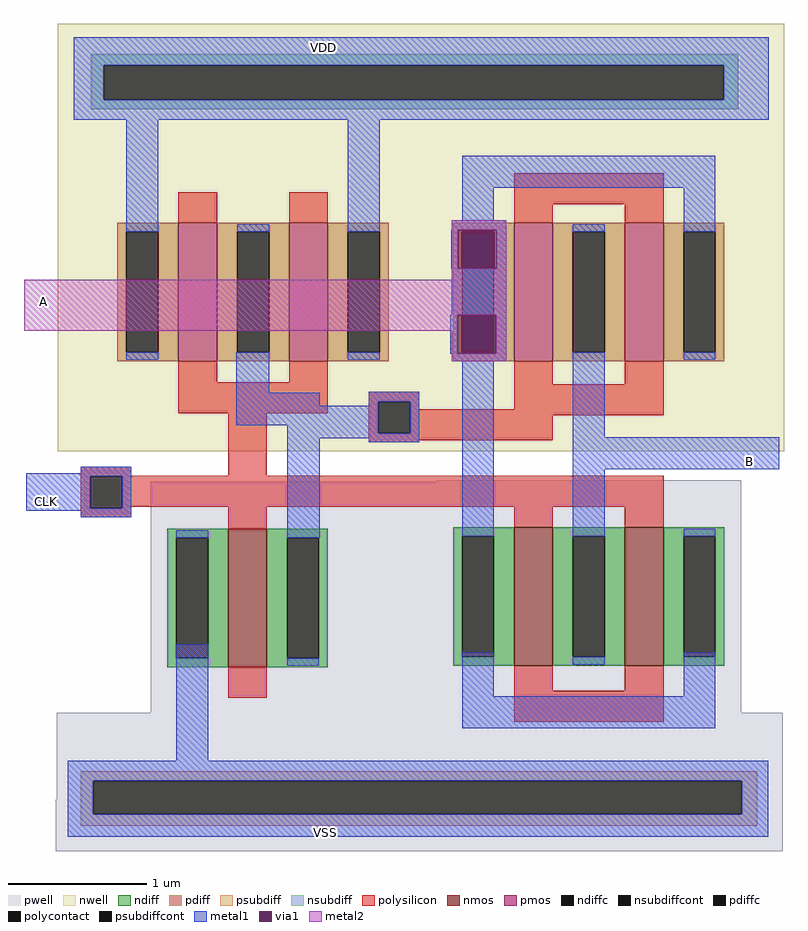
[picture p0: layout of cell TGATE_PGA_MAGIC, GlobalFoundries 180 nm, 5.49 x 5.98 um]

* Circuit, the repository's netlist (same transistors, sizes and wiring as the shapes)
* NGSPICE file created from TGATE_PGA_MAGIC.ext - technology: gf180mcuC

.subckt nfet_03v3_DNL5WS a_n196_n100# a_n52_n100# a_108_n100# a_52_n144# a_n108_n144#
+ VSUBS
X0 a_n52_n100# a_n108_n144# a_n196_n100# VSUBS nfet_03v3 ad=0.26p pd=1.52u as=0.44p ps=2.88u w=1u l=0.28u
X1 a_108_n100# a_52_n144# a_n52_n100# VSUBS nfet_03v3 ad=0.44p pd=2.88u as=0.26p ps=1.52u w=1u l=0.28u
.ends

.subckt pfet_03v3_6DZECV a_n196_n100# a_n52_n100# w_n282_n230# a_108_n100# a_52_n144#
+ a_n108_n144#
X0 a_n52_n100# a_n108_n144# a_n196_n100# w_n282_n230# pfet_03v3 ad=0.26p pd=1.52u as=0.44p ps=2.88u w=1u l=0.28u
X1 a_108_n100# a_52_n144# a_n52_n100# w_n282_n230# pfet_03v3 ad=0.44p pd=2.88u as=0.26p ps=1.52u w=1u l=0.28u
.ends

.subckt nfet_03v3_DNQ7WS a_28_n100# a_n28_n144# a_n116_n100# VSUBS
X0 a_28_n100# a_n28_n144# a_n116_n100# VSUBS nfet_03v3 ad=0.44p pd=2.88u as=0.44p ps=2.88u w=1u l=0.28u
.ends

.subckt TGATE_PGA_MAGIC VDD VSS B CLK A
Xnfet_03v3_DNL5WS_0 A B A CLK CLK VSS nfet_03v3_DNL5WS
Xpfet_03v3_6DZECV_0 VDD a_n36_13# VDD VDD CLK CLK pfet_03v3_6DZECV
Xpfet_03v3_6DZECV_1 A B VDD A a_n36_13# a_n36_13# pfet_03v3_6DZECV
Xnfet_03v3_DNQ7WS_0 a_n36_13# CLK VSS VSS nfet_03v3_DNQ7WS
.ends

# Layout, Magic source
magic
tech gf180mcuC
magscale 1 10
<< nwell >>
rect -485 454 564 618
rect -36 51 37 86
<< pwell >>
rect -351 -189 75 -44
rect -351 -378 155 -189
rect -487 -503 562 -378
rect -488 -578 562 -503
<< psubdiff >>
rect -452 -476 525 -462
rect -452 -524 -434 -476
rect 503 -524 525 -476
rect -452 -541 525 -524
<< nsubdiff >>
rect -437 558 498 574
rect -437 508 -419 558
rect 477 508 498 558
rect -437 494 498 508
<< psubdiffcont >>
rect -434 -524 503 -476
<< nsubdiffcont >>
rect -419 508 477 558
<< polysilicon >>
rect 174 357 390 402
rect -311 55 -95 100
rect 174 97 230 108
rect -36 72 37 86
rect -452 -35 -379 -22
rect -239 -35 -183 55
rect -36 26 -22 72
rect 24 61 37 72
rect 174 61 390 97
rect 24 52 390 61
rect 24 26 230 52
rect -36 16 230 26
rect -36 13 37 16
rect -452 -36 390 -35
rect -452 -82 -438 -36
rect -392 -80 390 -36
rect -392 -82 -379 -80
rect -452 -95 -379 -82
rect 174 -391 390 -346
<< polycontact >>
rect -22 26 24 72
rect -438 -82 -392 -36
<< metal1 >>
rect -462 558 542 598
rect -462 508 -419 558
rect 477 508 542 558
rect -462 479 542 508
rect -386 317 -340 479
rect -66 317 -20 479
rect 99 381 465 427
rect 99 334 145 381
rect 84 320 163 334
rect 83 264 93 320
rect 149 264 163 320
rect 419 317 465 381
rect 84 197 163 264
rect -227 85 -180 143
rect 82 141 92 197
rect 148 141 163 197
rect 84 130 163 141
rect -227 66 -107 85
rect -36 72 37 86
rect -36 66 -22 72
rect -227 38 -22 66
rect -154 26 -22 38
rect 24 26 37 72
rect -154 19 37 26
rect -452 -32 -379 -22
rect -531 -36 -379 -32
rect -531 -82 -438 -36
rect -392 -82 -379 -36
rect -531 -86 -379 -82
rect -452 -95 -379 -86
rect -154 -124 -107 19
rect -36 13 37 19
rect 99 -123 145 130
rect 259 20 305 143
rect 259 -26 557 20
rect 259 -123 305 -26
rect -314 -447 -268 -279
rect 99 -354 145 -290
rect 419 -354 465 -290
rect 99 -400 465 -354
rect -471 -476 541 -447
rect -471 -524 -434 -476
rect 503 -524 541 -476
rect -471 -557 541 -524
<< via1 >>
rect 93 264 149 320
rect 92 141 148 197
<< metal2 >>
rect 84 320 163 334
rect 84 264 93 320
rect 149 264 163 320
rect 84 248 163 264
rect -534 197 163 248
rect -534 174 92 197
rect 84 141 92 174
rect 148 141 163 197
rect 84 130 163 141
use nfet_03v3_DNL5WS  nfet_03v3_DNL5WS_0
transform 1 0 282 0 1 -210
box -220 -168 220 168
use nfet_03v3_DNQ7WS  nfet_03v3_DNQ7WS_0
transform 1 0 -211 0 1 -212
box -140 -168 140 168
use pfet_03v3_6DZECV  pfet_03v3_6DZECV_0
transform 1 0 -203 0 1 230
box -282 -230 282 230
use pfet_03v3_6DZECV  pfet_03v3_6DZECV_1
transform 1 0 282 0 1 230
box -282 -230 282 230
<< labels >>
flabel metal1 -101 584 -101 584 0 FreeSans 1600 0 0 0 VDD
port 1 nsew
flabel metal1 -98 -550 -98 -550 0 FreeSans 1600 0 0 0 VSS
port 2 nsew
flabel metal1 514 -14 514 -14 0 FreeSans 1600 0 0 0 B
port 3 nsew
flabel metal1 -502 -72 -502 -72 0 FreeSans 1600 0 0 0 CLK
port 4 nsew
flabel metal2 -506 216 -506 216 0 FreeSans 1600 0 0 0 A
port 6 nsew
<< end >>

# cell nfet_03v3_DNL5WS: kit device nfet_03v3, w 1 l 0.280 m 1 nf 2 diffcov 100 polycov 100 guard 0 glc 0 grc 0 gtc 0 gbc 0 tbcov 100 rlcov 100 topc 0 botc 0 poverlap 0 doverlap 1 lmin 0.28 wmin 0.22 full_metal 0 compatible {nfet_03v3 nfet_06v0 nfet_06v0_nvt}

# cell nfet_03v3_DNQ7WS: kit device nfet_03v3, w 1 l 0.280 m 1 nf 1 diffcov 100 polycov 100 guard 0 glc 0 grc 0 gtc 0 gbc 0 tbcov 100 rlcov 100 topc 0 botc 0 poverlap 0 doverlap 1 lmin 0.28 wmin 0.22 full_metal 0 compatible {nfet_03v3 nfet_06v0 nfet_06v0_nvt}

# cell pfet_03v3_6DZECV: kit device pfet_03v3, w 1 l 0.280 m 1 nf 2 diffcov 100 polycov 100 guard 0 glc 0 grc 0 gtc 0 gbc 0 tbcov 100 rlcov 100 topc 0 botc 0 poverlap 0 doverlap 1 lmin 0.28 wmin 0.22 full_metal 0 compatible {pfet_03v3 pfet_06v0}
